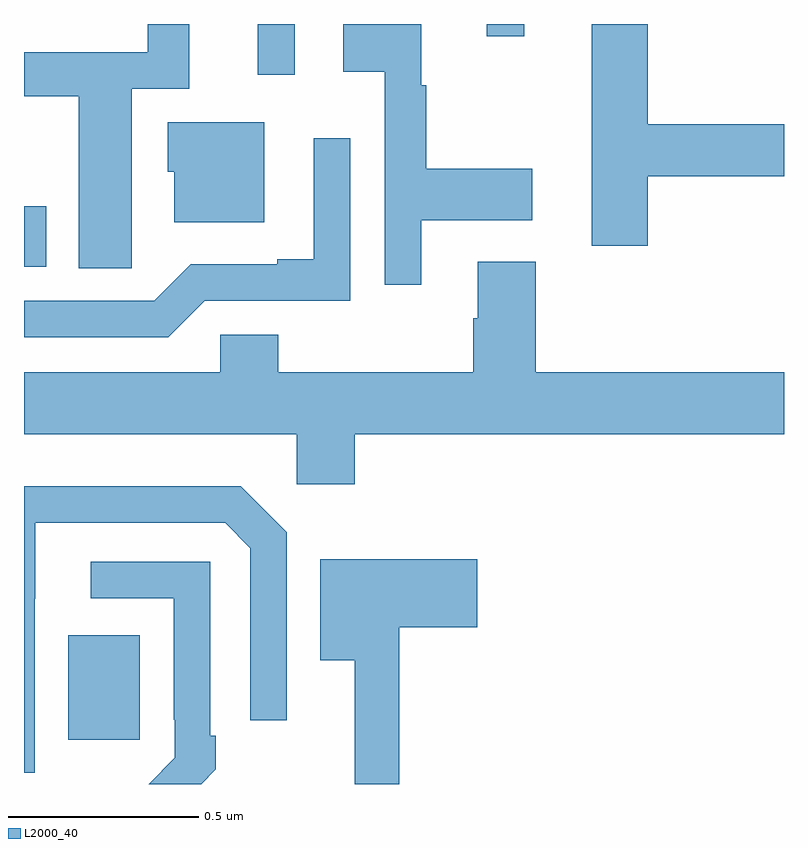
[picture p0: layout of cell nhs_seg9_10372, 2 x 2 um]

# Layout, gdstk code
import gdstk
lib = gdstk.Library(unit=1e-6, precision=1e-09)
def R(c, l, rs):  # rectangles x0, y0, x1, y1
    for r in rs: c.add(gdstk.rectangle(r[:2], r[2:], *l))
def P(c, l, *ps):  # polygons
    for p in ps: c.add(gdstk.Polygon(p, *l))
L2000_40 = (2000, 40)

nhs_seg9_10372 = lib.new_cell('nhs_seg9_10372')
R(nhs_seg9_10372, L2000_40, [(242.117,1195.617,242.305,1195.891), (242,1196.861,242.059,1197.021), (242.615,1197.366,242.712,1197.5), (243.218,1197.468,243.316,1197.5)])
P(nhs_seg9_10372, L2000_40, [(242.283,1196.968),(242.284,1196.968),(242.284,1197.33),(242.435,1197.33),(242.435,1197.5),(242.326,1197.5),(242.326,1197.426),(242,1197.426),(242,1197.31),(242.144,1197.31),(242.144,1196.857),(242.283,1196.857)],
  [(243.641,1197.1),(244,1197.1),(244,1197.236),(243.641,1197.236),(243.641,1197.5),(243.494,1197.5),(243.494,1196.916),(243.641,1196.916)],
  [(243.046,1196.984),(243.337,1196.984),(243.337,1197.119),(243.058,1197.119),(243.058,1197.339),(243.046,1197.339),(243.046,1197.5),(242.84,1197.5),(242.84,1197.374),(242.949,1197.374),(242.949,1196.814),(243.046,1196.814)],
  [(242.632,1197.241),(242.378,1197.241),(242.378,1197.111),(242.396,1197.111),(242.396,1196.978),(242.632,1196.978)],
  [(242.475,1196.772),(242.859,1196.772),(242.859,1197.199),(242.762,1197.199),(242.762,1196.881),(242.666,1196.881),(242.666,1196.868),(242.439,1196.868),(242.343,1196.772),(242,1196.772),(242,1196.676),(242.379,1196.676)],
  [(242.87,1196.42),(244,1196.42),(244,1196.584),(243.347,1196.584),(243.347,1196.875),(243.194,1196.875),(243.194,1196.726),(243.182,1196.726),(243.182,1196.584),(242.669,1196.584),(242.669,1196.682),(242.517,1196.682),(242.517,1196.584),(242,1196.584),(242,1196.42),(242.718,1196.42),(242.718,1196.289),(242.87,1196.289)],
  [(242.028,1195.987),(242.029,1195.987),(242.029,1196.187),(242.529,1196.187),(242.595,1196.121),(242.595,1195.668),(242.691,1195.668),(242.691,1196.163),(242.57,1196.284),(242,1196.284),(242,1195.53),(242.028,1195.53)],
  [(242.987,1195.913),(243.193,1195.913),(243.193,1196.091),(242.78,1196.091),(242.78,1195.826),(242.87,1195.826),(242.87,1195.5),(242.987,1195.5)],
  [(242.505,1195.539),(242.505,1195.627),(242.49,1195.627),(242.49,1196.085),(242.175,1196.085),(242.175,1195.989),(242.394,1195.989),(242.394,1195.669),(242.397,1195.669),(242.397,1195.569),(242.328,1195.5),(242.466,1195.5)])

lib.write_gds('nhs_seg9_10372.gds')
